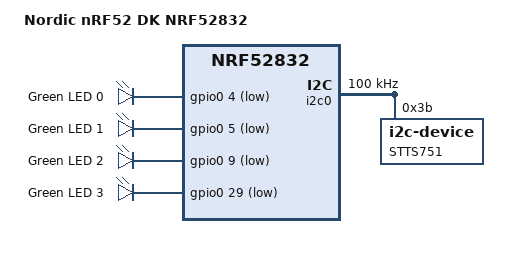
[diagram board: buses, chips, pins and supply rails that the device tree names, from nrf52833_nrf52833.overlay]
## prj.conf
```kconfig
CONFIG_I2C=y
CONFIG_CBPRINTF_FP_SUPPORT=y
CONFIG_GPIO=y
CONFIG_SENSOR=y
```

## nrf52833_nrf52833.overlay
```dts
&i2c0 {
    compatible = "nordic,nrf-twim";
    status = "okay";

    clock-frequency = <I2C_BITRATE_STANDARD>;

     mysensor: mysensor@3b{
        status = "okay";
        compatible = "i2c-device";
        reg = <0x3b>;
       
        label = "STTS751";
        
    };
};

/* for node */

/ {
	model = "Nordic nRF52 DK NRF52832";
	compatible = "nordic,nrf52-dk-nrf52832";

	chosen {
		zephyr,console = &uart0;
		zephyr,shell-uart = &uart0;
		zephyr,uart-mcumgr = &uart0;
		zephyr,bt-mon-uart = &uart0;
		zephyr,bt-c2h-uart = &uart0;
		zephyr,sram = &sram0;
		zephyr,flash = &flash0;
		zephyr,code-partition = &slot0_partition;
	};

	leds {
		compatible = "gpio-leds";
		led0: led_0 {
			gpios = <&gpio0 4 GPIO_ACTIVE_LOW>;
			label = "Green LED 0";
		};
		led1: led_1 {
			gpios = <&gpio0 5 GPIO_ACTIVE_LOW>;
			label = "Green LED 1";
		};
		led2: led_2 {
			gpios = <&gpio0 9 GPIO_ACTIVE_LOW>;
			label = "Green LED 2";
		};
		led3: led_3 {
			gpios = <&gpio0 29 GPIO_ACTIVE_LOW>;
			label = "Green LED 3";
		};
	};
};
&pinctrl {
	uart0_default: uart0_default {
		group1 {
			psels = <NRF_PSEL(UART_TX, 0, 29)>, //6   for nrf52dk5832 / 5840
				<NRF_PSEL(UART_RX, 0, 28)>;   //8	  for nrf52dk5832
				
		};
	};

	uart0_sleep: uart0_sleep {
		group1 {
			psels = <NRF_PSEL(UART_TX, 0, 29)>,    //6
				<NRF_PSEL(UART_RX, 0, 28)>;        //8
				
			low-power-enable;
		};
	};
	i2c0_default: i2c0_default {
		group1 {
			psels = <NRF_PSEL(TWIM_SDA, 0, 2)>,  
				<NRF_PSEL(TWIM_SCL, 0, 3)>;      
		};
	};

	i2c0_sleep: i2c0_sleep {
		group1 {
			psels = <NRF_PSEL(TWIM_SDA, 0, 2)>,   
				<NRF_PSEL(TWIM_SCL, 0, 3)>;        
			low-power-enable;
		};
	};
};
```

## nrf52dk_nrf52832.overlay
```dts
&i2c0 {
    compatible = "nordic,nrf-twim";
    status = "okay";

    clock-frequency = <I2C_BITRATE_STANDARD>;

     mysensor: mysensor@4a{
        status = "okay";
        compatible = "i2c-device";
        reg = <0x4a>;
        label = "STTS751";
    };
};

// /* For node Configuration */
// &pinctrl {
// 	uart0_default: uart0_default {
// 		group1 {
// 			psels = <NRF_PSEL(UART_TX, 0, 24)>, //6   for nrf52dk5832 / 5840
// 				<NRF_PSEL(UART_RX, 0, 23)>,   //8	  for nrf52dk5832
// 				<NRF_PSEL(UART_RTS, 0, 5)>,
// 				<NRF_PSEL(UART_CTS, 0, 7)>;
// 		};
// 	};

// 	uart0_sleep: uart0_sleep {
// 		group1 {
// 			psels = <NRF_PSEL(UART_TX, 0, 24)>,    //6
// 				<NRF_PSEL(UART_RX, 0, 23)>,        //8
// 				<NRF_PSEL(UART_RTS, 0, 5)>,
// 				<NRF_PSEL(UART_CTS, 0, 7)>;
// 			low-power-enable;
// 		};
// 	};
// 	i2c0_default: i2c0_default {
// 		group1 {
// 			psels = <NRF_PSEL(TWIM_SDA, 0, 26)>,  
// 				<NRF_PSEL(TWIM_SCL, 0, 25)>;      
// 		};
// 	};

// 	i2c0_sleep: i2c0_sleep {
// 		group1 {
// 			psels = <NRF_PSEL(TWIM_SDA, 0, 26)>,   
// 				<NRF_PSEL(TWIM_SCL, 0, 25)>;        
// 			low-power-enable;
// 		};
// 	};
// };
```

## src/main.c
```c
#include <zephyr/kernel.h>                                // header files for the project
#include <zephyr/device.h>
#include <zephyr/devicetree.h>
#include <zephyr/drivers/i2c.h>
#include <zephyr/sys/printk.h>
#include <stdio.h>

#define SLEEP_TIME_MS   1000   // Define the sleep time in milliseconds
#define stts751TempHighReg            0x00  // Define the register address for temperature high byte
#define stts751TempLowReg           0x02  // Define the register address for temperature low byte
#define stts751ConfigReg               0x03  // Define the register address for configuration

#define I2C_NODE DT_NODELABEL(mysensor)   // Define the I2C node label as 'mysensor'

void main(void)   // main function
{

	int ret;  // Declare a variable named 'ret' of type 'int'

	static const struct i2c_dt_spec devI2c = I2C_DT_SPEC_GET(I2C_NODE);  // Get the I2C device specification from the device tree using the specified node label
	if (!device_is_ready(devI2c.bus)) {                   // Check if the I2C bus associated with the device is not ready
		printk("I2C bus %s is not ready!\n\r",devI2c.bus->name);   // Print an error message indicating that the I2C bus is not ready
		return;            // Return from the function
	} 


	uint8_t buffer[2] = {stts751ConfigReg,0x8C};  // Define a buffer containing data to be written to the I2C device
	ret = i2c_write_dt(&devI2c, buffer, sizeof(buffer));   // Write data to the I2C device using the device-specific I2C descriptor and the buffer
	if(ret != 0){    // Check if the return value from the I2C write operation is not equal to 0 (indicating an error)
		printk("Failed to write to I2C device address %x at Reg. %x \n", devI2c.addr,buffer[0]);  // Print an error message indicating the failure to write to the I2C device 
		return;   // Return from the function
	}

	while (1) {    // infinite loop

		uint8_t temp_reading[2]= {0};    // Define an array to store temperature readings
		uint8_t sensor_regs[2] ={stts751TempLowReg,stts751TempHighReg};   // Define an array containing the sensor register addresses for temperature readings
		ret = i2c_write_read_dt(&devI2c,&sensor_regs[0],1,&temp_reading[0],1);  // Perform an I2C write-read operation to read temperature data from the sensor registers
		if(ret != 0){                                // Check if the return value from the I2C operation is not equal to 0 (indicating an error)
			printk("Failed to write/read I2C device address %x at Reg. %x \r\n", devI2c.addr,sensor_regs[0]);  // Print an error message indicating the failure to write/read from the I2C device
		} 
		ret = i2c_write_read_dt(&devI2c,&sensor_regs[1],1,&temp_reading[1],1);  // Perform another I2C write-read operation to read temperature data from the sensor registers
		if(ret != 0){            // Check if the return value from the I2C operation is not equal to 0 (indicating an error)
			printk("Failed to write/read I2C device address %x at Reg. %x \r\n", devI2c.addr,sensor_regs[1]);  // Print an error message indicating the failure to write/read from the I2C device
		}


		int temp = ((int)temp_reading[1] * 256 + ((int)temp_reading[0] & 0xF0)) / 16;   // Calculate the temperature value from the raw temperature readings
		if(temp > 2047)  // Check if the temperature value is greater than 2047 (indicating a negative temperature)
		{
			temp -= 4096;  // Adjust the temperature value for negative temperatures
		}

		
		double cTemp = temp * 0.0625;   // Convert the temperature value to Celsius and Fahrenheit
		double fTemp = cTemp * 1.8 + 32; 

		
		printk("Temperature in Celsius : %.2f °C  Temperature in Fahrenheit : %.2f F\n", cTemp, fTemp);  // Print the temperature in Celsius and Fahrenheit
		k_msleep(SLEEP_TIME_MS);   // Delay for a specified time before the next iteration
	}
}
```
